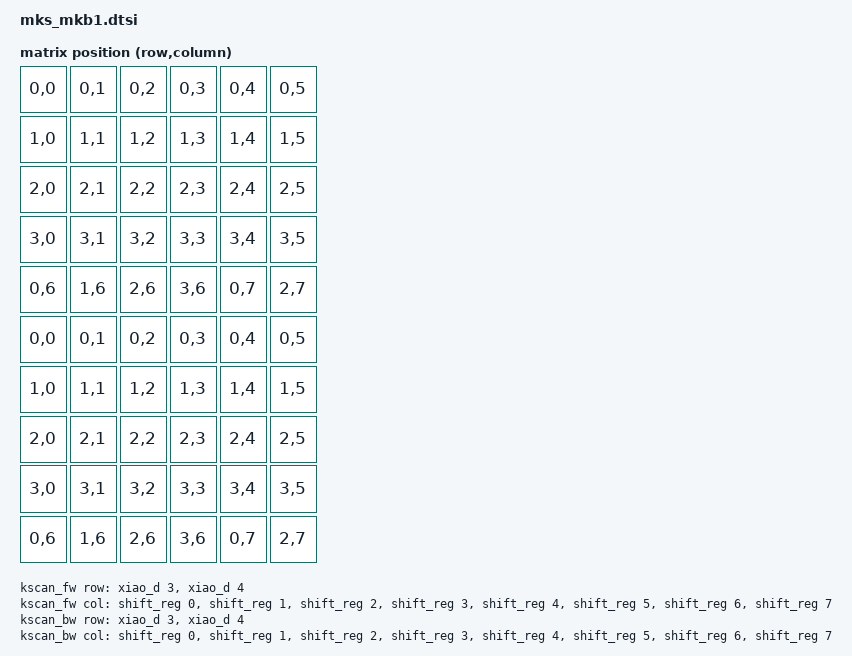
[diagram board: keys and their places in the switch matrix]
#include <dt-bindings/zmk/matrix_transform.h>
#include <dt-bindings/led/led.h>

/ {
    chosen {
        zmk,matrix-transform = &default_transform;
    };

    /* 2つのマトリクス状態を1つに統合する親ノード */
    kscan0: kscan_composite {
        compatible = "zmk,kscan-composite";
        label = "KSCAN";
        rows = <4>;
        columns = <8>;

        /* 順方向のペアリング（論理ROW 0 と 論理ROW 2） */
        matrix_forward {
            kscan = <&kscan_fw>;
            row-offset = <0>; // 論理行 0, 2 としてマッピング
        };

        /* 逆方向のペアリング（論理ROW 1 と 論理ROW 3） */
        matrix_backward {
            kscan = <&kscan_bw>;
            row-offset = <1>; // 論理行 1, 3 としてマッピング
        };
    };

    /* 順方向用（Anode -> Cathode）マトリクス：2行×8列 */
    kscan_fw: kscan_forward {
        compatible = "zmk,kscan-gpio-matrix";
        diode-direction = "col2row";
        row-gpios
            = <&xiao_d 3 (GPIO_ACTIVE_HIGH | GPIO_PULL_DOWN)> // 論理ROW0 (物理ROW0)
            , <&xiao_d 4 (GPIO_ACTIVE_HIGH | GPIO_PULL_DOWN)> // 論理ROW2 (物理ROW1)
            ;
        col-gpios = <&shift_reg 0 GPIO_ACTIVE_HIGH>
                  , <&shift_reg 1 GPIO_ACTIVE_HIGH>
                  , <&shift_reg 2 GPIO_ACTIVE_HIGH>
                  , <&shift_reg 3 GPIO_ACTIVE_HIGH>
                  , <&shift_reg 4 GPIO_ACTIVE_HIGH>
                  , <&shift_reg 5 GPIO_ACTIVE_HIGH>
                  , <&shift_reg 6 GPIO_ACTIVE_HIGH>
                  , <&shift_reg 7 GPIO_ACTIVE_HIGH>
                  ;
    };

    /* 逆方向用（Cathode -> Anode）マトリクス：2行×8列 */
    kscan_bw: kscan_backward {
        compatible = "zmk,kscan-gpio-matrix";
        diode-direction = "row2col"; // 電流の向きが反転
        row-gpios
            = <&xiao_d 3 (GPIO_ACTIVE_LOW | GPIO_PULL_UP)>   // 論理ROW1 (物理ROW0)
            , <&xiao_d 4 (GPIO_ACTIVE_LOW | GPIO_PULL_UP)>   // 論理ROW3 (物理ROW1)
            ;
        col-gpios = <&shift_reg 0 GPIO_ACTIVE_LOW>
                  , <&shift_reg 1 GPIO_ACTIVE_LOW>
                  , <&shift_reg 2 GPIO_ACTIVE_LOW>
                  , <&shift_reg 3 GPIO_ACTIVE_LOW>
                  , <&shift_reg 4 GPIO_ACTIVE_LOW>
                  , <&shift_reg 5 GPIO_ACTIVE_LOW>
                  , <&shift_reg 6 GPIO_ACTIVE_LOW>
                  , <&shift_reg 7 GPIO_ACTIVE_LOW>
                  ;
    };

    default_transform: keymap_transform_0 {
        compatible = "zmk,matrix-transform";
        columns = <8>; // シフトレジスタの8列
        rows = <4>;    // Duplex Matrix化による論理的な4行(2ROW × 2パターン)

        /* 
         * ご提示のリストを完璧にRCマッピング化。
         * 左半分(SW1〜30) と 右半分(SW31〜60) を並べています。
         */
        map = <
        /* ================== 左手側 (SW1 〜 SW30) ================== */
        /* SW01:F12 */ RC(0,0)  /* SW06:F1 */  RC(0,1)  /* SW11:F2 */  RC(0,2)  /* SW16:F3 */  RC(0,3)  /* SW21:F4 */  RC(0,4)  /* SW26:F5 */  RC(0,5)
        /* SW02:esc */ RC(1,0)  /* SW07:Q */   RC(1,1)  /* SW12:W */   RC(1,2)  /* SW17:E */   RC(1,3)  /* SW22:R */   RC(1,4)  /* SW27:T */   RC(1,5)
        /* SW03:tab */ RC(2,0)  /* SW08:A */   RC(2,1)  /* SW13:S */   RC(2,2)  /* SW18:D */   RC(2,3)  /* SW23:F */   RC(2,4)  /* SW28:G */   RC(2,5)
        /* SW04:shf */ RC(3,0)  /* SW09:Z */   RC(3,1)  /* SW14:X */   RC(3,2)  /* SW19:C */   RC(3,3)  /* SW24:V */   RC(3,4)  /* SW29:B */   RC(3,5)
        /* SW05:ctl */ RC(0,6)  /* SW10:win */ RC(1,6)  /* SW15:alt */ RC(2,6)  /* SW20:fn */  RC(3,6)  /* SW25:spc */ RC(0,7)  /* SW30:lyt */ RC(2,7)

        /* ================== 右手側 (SW31 〜 SW60) ================== */
        /* SW31:F6 */ RC(0,0)  /* SW36:F7 */  RC(0,1)  /* SW41:F8 */  RC(0,2)  /* SW46:F9 */ RC(0,3)  /* SW51:F10 */RC(0,4)  /* SW56:F11 */RC(0,5)
        /* SW32:Y */  RC(1,0)  /* SW37:U */   RC(1,1)  /* SW42:I */   RC(1,2)  /* SW47:O */  RC(1,3)  /* SW52:P */  RC(1,4)  /* SW57:bs */ RC(1,5)
        /* SW33:H */  RC(2,0)  /* SW38:J */   RC(2,1)  /* SW43:K */   RC(2,2)  /* SW48:L */  RC(2,3)  /* SW53:\ */  RC(2,4)  /* SW58:ent */RC(2,5)
        /* SW34:N */  RC(3,0)  /* SW39:M */   RC(3,1)  /* SW44:, */   RC(3,2)  /* SW49:. */  RC(3,3)  /* SW54:↑ */  RC(3,4)  /* SW59:del */RC(3,5)
        /* SW35:ML */ RC(0,6)  /* SW40:MR */  RC(1,6)  /* SW45:alt */ RC(2,6)  /* SW50:← */  RC(3,6)  /* SW55:↓ */  RC(0,7)  /* SW60:→ */  RC(2,7)
        >;
    };
};



/***************************** 
 5V Boost
 ****************************/
/ {
    /*
     * 5V昇圧IC（Boost）の制御ピン（D7 / P1.12）の定義
     * ポート1の12番ピンなので、gpio1 の 12番 を指定します。
     */
    boost_en: boost_en {
        compatible = "regulator-fixed";
        label = "5V_BOOST_EN";
        /* 
         * gpio1: ポート1 (P1.xx) 
         * 12: ピン番号12 (P1.12)
         * GPIO_ACTIVE_HIGH: Highで昇圧ICがONになる回路を想定
         */
        gpio = <&gpio1 12 GPIO_ACTIVE_HIGH>;
        regulator-name = "boost_en";
        enable-active-high;
    };

    /*
     * ZMKの外部電源管理（ext-power）システムに昇圧ピンを紐付けます。
     * これにより、LEDのON/OFFやスリープ状態と連動してD7ピンが自動制御されます。
     */
    ext-power {
        compatible = "zmk,ext-power-generic";
        label = "EXT_POWER";
        control-gpios = <&gpio1 12 GPIO_ACTIVE_HIGH>;
    };
};
